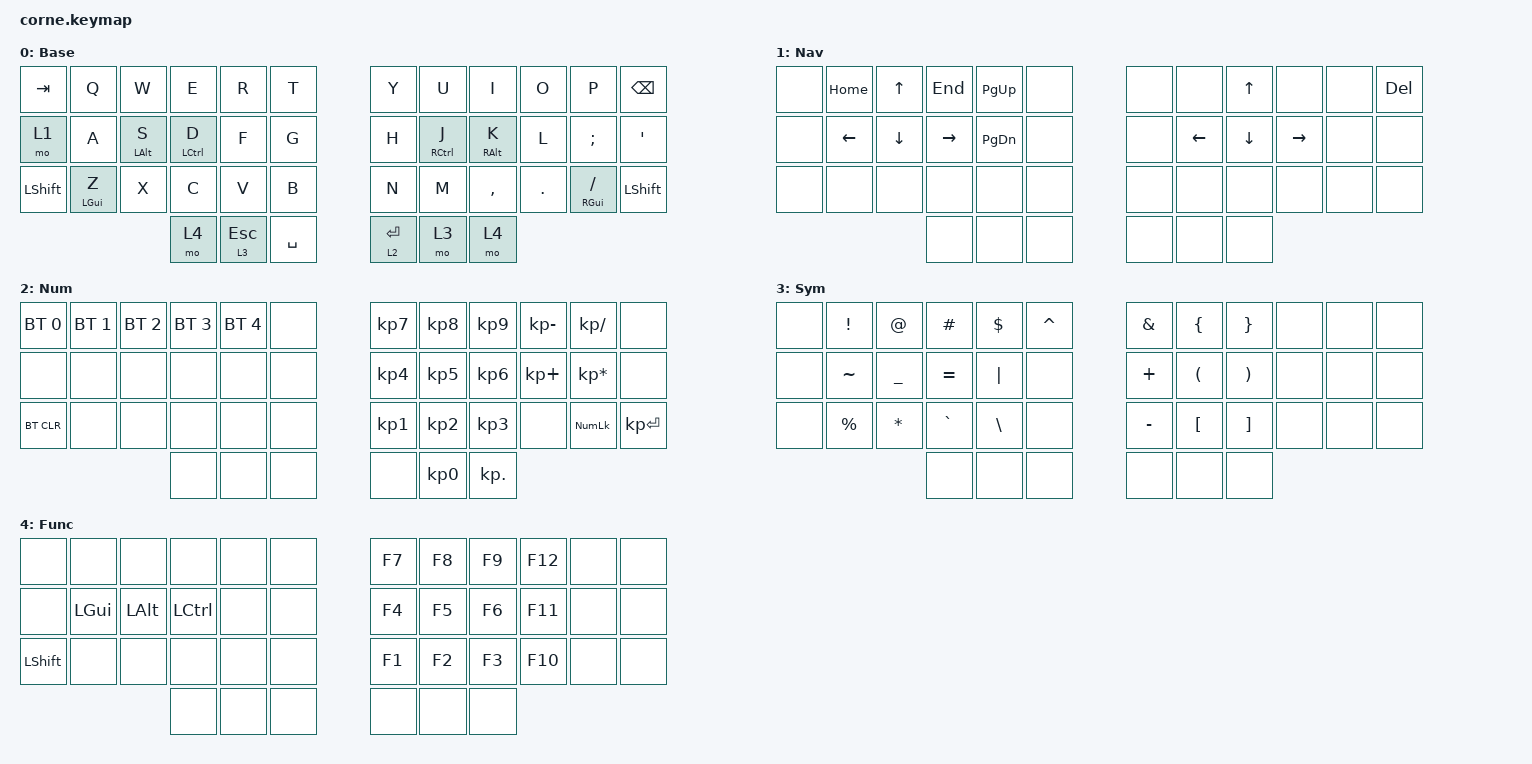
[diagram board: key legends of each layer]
/*
 * Copyright (c) 2020 The ZMK Contributors
 *
 * SPDX-License-Identifier: MIT
 */

#include <behaviors.dtsi>
#include <dt-bindings/zmk/keys.h>
#include <dt-bindings/zmk/bt.h>

/ {
        behaviors {
            tdZ: tap_dance_z {
                compatible = "zmk,behavior-tap-dance";
                #binding-cells = <0>;
                tapping-term-ms = <200>;
                bindings = <&kp Z>, <&kp LGUI>;
            };
            tdSlash: tap_dance_sl {
                compatible = "zmk,behavior-tap-dance";
                #binding-cells = <0>;
                tapping-term-ms = <200>;
                bindings = <&kp FSLH>, <&kp LGUI>;
            };
            tdShift: tap_dance_shiftctl {
                compatible = "zmk,behavior-tap-dance";
                #binding-cells = <0>;
                tapping-term-ms = <200>;
                bindings = <&kp LSHFT>, <&kp LCTRL>;
            };
            tdL4: tap_dance_l4alt {
                compatible = "zmk,behavior-tap-dance";
                #binding-cells = <0>;
                tapping-term-ms = <200>;
                bindings = <&mo 4>, <&kp LALT>;
            };
            hm: homerow_mods {
                compatible = "zmk,behavior-hold-tap";
                #binding-cells = <2>;
                tapping-term-ms = <200>;
                quick-tap-ms = <0>;
                flavor = "tap-preferred";
                bindings = <&kp>, <&kp>;
            };
        };

        keymap {
                compatible = "zmk,keymap";

                default_layer {
// -----------------------------------------------------------------------------------------
// |  TAB |  Q  |  W  |  E  |  R  |  T  |   |  Y  |  U   |  I  |  O  |  P  | BKSP |
// | L1   |  A  |ALTS |CTRLD|  F  |  G  |   |  H  | CTLJ |ALTK |  L  |  ;  |  '   |
// | SHFT |GUIZ |  X  |  C  |  V  |  B  |   |  N  |  M   |  ,  |  .  |GUI/ | RSHFT|
//                    | L4  |L4Esc| Spc |   |L2/Ent| L3  | L4  |
                        display-name = "Base";
                        bindings = <
                  &kp TAB    &kp Q      &kp W          &kp E           &kp R       &kp T  &kp Y  &kp U           &kp I          &kp O    &kp P     &kp BSPC
                  &mo 1      &kp A      &hm LALT S  &hm LCTRL D  &kp F       &kp G  &kp H  &hm RCTRL J  &hm RALT K  &kp L    &kp SEMI  &kp SQT
                  &kp LSHFT  &hm LGUI Z &kp X          &kp C           &kp V       &kp B  &kp N  &kp M           &kp COMMA      &kp DOT  &hm RGUI FSLH  &kp LSHFT
                                            &mo 4      &lt 3 ESC  &kp SPACE           &lt 2 RET       &mo 3  &mo 4
                        >;
                };
                nav_layer {
                        display-name = "Nav";
                        bindings = <
   &none &kp HOME &kp UP &kp END &kp PG_UP &none      &none    &none    &kp UP     &none &none &kp DEL
   &none &kp LEFT &kp DOWN &kp RIGHT &kp PG_DN &none  &none  &kp LEFT  &kp DOWN &kp RIGHT &none &none
   &none &none &none &none &none &none   &none &none  &none    &none     &none     &none
                    &none  &none &none   &none &none  &none
                        >;
                };

                num_layer {
                        display-name = "Num";
                        bindings = <
   &bt BT_SEL 0 &bt BT_SEL 1 &bt BT_SEL 2 &bt BT_SEL 3 &bt BT_SEL 4 &none   &kp KP_N7 &kp KP_N8  &kp KP_N9 &kp KP_MINUS &kp KP_DIVIDE   &none
   &none &none &none &none &none &none                                      &kp KP_N4 &kp KP_N5  &kp KP_N6 &kp KP_PLUS  &kp KP_MULTIPLY &none
   &bt BT_CLR &none &none &none &none &none                                      &kp KP_N1 &kp KP_N2  &kp KP_N3 &none &kp KP_NLCK &kp KP_ENTER
                    &none  &none &none                                      &none &kp KP_N0  &kp KP_DOT
                        >;
                };

                sym_layer {
// -----------------------------------------------------------------------------------------
// |  TAB |  !  |  @  |  #  |  $  |  %  |   |  ^  |  &  |  *  |  (  |  )  | BKSP |
// | CTRL |     |     |     |     |     |   |  -  |  =  |  [  |  ]  |  \  |  `   |
// | SHFT |     |     |     |     |     |   |  _  |  +  |  {  |  }  | "|" |  ~   |
//                    | GUI |     | SPC |   | ENT |     | ALT |
                        display-name = "Sym";
                        bindings = <
   &none &kp EXCL &kp AT &kp HASH &kp DLLR &kp CARET    &kp AMPS  &kp LBRC &kp RBRC &none &none &none
   &none &kp TILDE &kp UNDER &kp EQUAL &kp PIPE &none   &kp PLUS  &kp LPAR &kp RPAR &none &none &none
   &none &kp PERCENT &kp STAR &kp GRAVE &kp BSLH &none  &kp MINUS &kp LBKT &kp RBKT &none &none &none
                    &none  &none &none                  &none &none  &none
                        >;
                };

                func_layer {
                        display-name = "Func";
                        bindings = <
   &none     &none    &none    &none     &none &none   &kp F7   &kp F8    &kp F9   &kp F12 &none &none
   &none     &kp LGUI &kp LALT &kp LCTRL &none &none   &kp F4   &kp F5    &kp F6   &kp F11 &none &none
   &kp LSHFT &none    &none    &none     &none &none   &kp F1   &kp F2    &kp F3   &kp F10 &none &none
                               &none     &none &none   &none &none  &none
                        >;
                };

                extra_1 {
                        status = "reserved";
                };

                extra_2 {
                        status = "reserved";
                };

                extra_3 {
                        status = "reserved";
                };
        };
};
